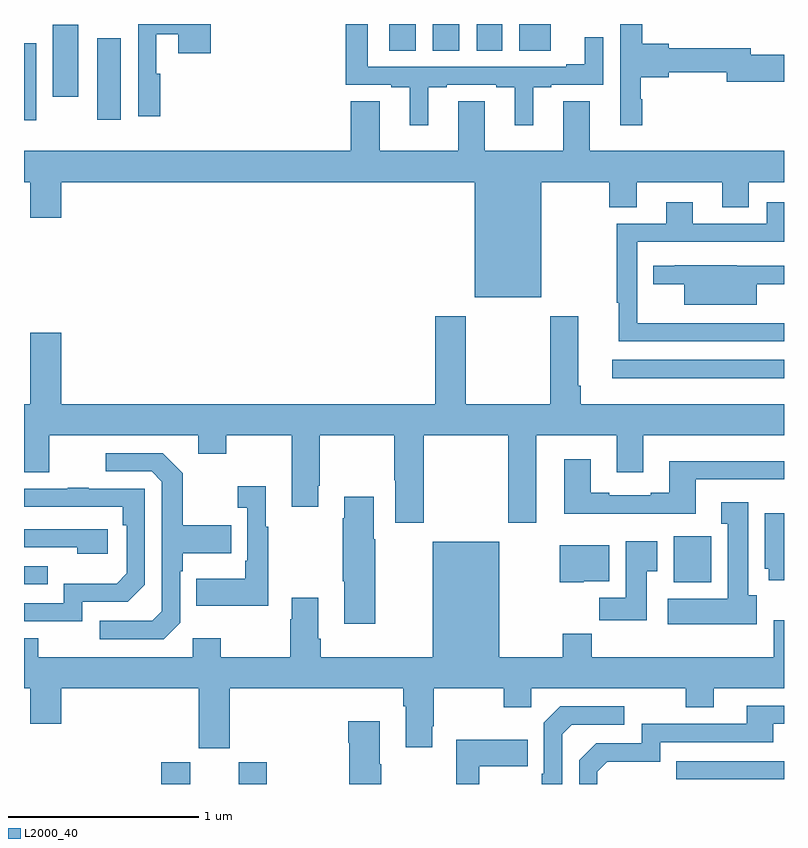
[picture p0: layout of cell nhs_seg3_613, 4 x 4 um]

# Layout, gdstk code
import gdstk
lib = gdstk.Library(unit=1e-6, precision=1e-09)
def R(c, l, rs):  # rectangles x0, y0, x1, y1
    for r in rs: c.add(gdstk.rectangle(r[:2], r[2:], *l))
def P(c, l, *ps):  # polygons
    for p in ps: c.add(gdstk.Polygon(p, *l))
L2000_40 = (2000, 40)

nhs_seg3_613 = lib.new_cell('nhs_seg3_613')
R(nhs_seg3_613, L2000_40, [(141.722,712.4,141.874,712.515), (142.13,712.4,142.278,712.515), (144.433,712.425,145,712.521), (141,713.451,141.125,713.547), (144.419,713.462,144.616,713.704), (144.096,714.536,145,714.633), (141,715.893,141.064,716.299), (141.386,715.896,141.508,716.326), (141.152,716.016,141.286,716.396), (142.922,716.26,143.062,716.4), (143.15,716.26,143.29,716.4), (143.384,716.26,143.518,716.4), (143.606,716.26,143.773,716.4)])
P(nhs_seg3_613, L2000_40, [(144.254,716.004),(144.247,716.004),(144.247,716.119),(144.394,716.119),(144.394,716.145),(144.698,716.145),(144.698,716.095),(145,716.095),(145,716.237),(144.826,716.237),(144.826,716.273),(144.394,716.273),(144.394,716.297),(144.254,716.297),(144.254,716.4),(144.137,716.4),(144.137,716.38),(144.138,716.38),(144.138,715.866),(144.254,715.866)],
  [(143.128,716.067),(143.224,716.067),(143.224,716.079),(143.486,716.079),(143.486,716.067),(143.582,716.067),(143.582,715.866),(143.68,715.866),(143.68,716.067),(143.776,716.067),(143.776,716.079),(144.048,716.079),(144.048,716.329),(143.951,716.329),(143.951,716.188),(143.855,716.188),(143.855,716.175),(142.809,716.175),(142.809,716.4),(142.693,716.4),(142.693,716.079),(142.934,716.079),(142.934,716.067),(143.03,716.067),(143.03,715.866),(143.128,715.866)],
  [(141.716,716.138),(141.696,716.138),(141.696,716.345),(141.812,716.345),(141.812,716.247),(141.983,716.247),(141.983,716.4),(141.6,716.4),(141.6,715.914),(141.716,715.914)],
  [(143.722,715.568),(144.079,715.568),(144.079,715.435),(144.226,715.435),(144.226,715.568),(144.674,715.568),(144.674,715.435),(144.814,715.435),(144.814,715.568),(145,715.568),(145,715.732),(143.977,715.732),(143.977,715.994),(143.837,715.994),(143.837,715.732),(143.425,715.732),(143.425,715.994),(143.285,715.994),(143.285,715.732),(142.873,715.732),(142.873,715.994),(142.721,715.994),(142.721,715.732),(141,715.732),(141,715.568),(141.032,715.568),(141.032,715.38),(141.196,715.38),(141.196,715.568),(143.372,715.568),(143.372,714.962),(143.722,714.962)],
  [(145,714.825),(144.228,714.825),(144.228,715.254),(145,715.254),(145,715.462),(144.908,715.462),(144.908,715.35),(144.52,715.35),(144.52,715.462),(144.38,715.462),(144.38,715.35),(144.12,715.35),(144.12,714.932),(144.131,714.932),(144.131,714.729),(145,714.729)],
  [(144.856,715.031),(145,715.031),(145,715.128),(144.752,715.128),(144.752,715.129),(144.424,715.129),(144.424,715.127),(144.313,715.127),(144.313,715.031),(144.476,715.031),(144.476,714.923),(144.856,714.923)],
  [(143.103,714.236),(143.548,714.236),(143.548,713.775),(143.695,713.775),(143.695,714.236),(144.119,714.236),(144.119,714.042),(144.259,714.042),(144.259,714.236),(145,714.236),(145,714.4),(143.93,714.4),(143.93,714.496),(143.917,714.496),(143.917,714.862),(143.77,714.862),(143.77,714.4),(143.325,714.4),(143.325,714.862),(143.165,714.862),(143.165,714.4),(141.196,714.4),(141.196,714.775),(141.032,714.775),(141.032,714.4),(141,714.4),(141,714.042),(141.133,714.042),(141.133,714.236),(141.917,714.236),(141.917,714.137),(142.065,714.137),(142.065,714.236),(142.409,714.236),(142.409,713.859),(142.549,713.859),(142.549,713.971),(142.557,713.971),(142.557,714.236),(142.948,714.236),(142.948,713.998),(142.955,713.998),(142.955,713.775),(143.103,713.775)],
  [(141.822,713.25),(141.822,713.519),(141.835,713.519),(141.835,713.615),(142.091,713.615),(142.091,713.763),(141.835,713.763),(141.835,714.035),(141.729,714.141),(141.429,714.141),(141.429,714.045),(141.672,714.045),(141.726,713.991),(141.726,713.31),(141.675,713.259),(141.399,713.259),(141.399,713.163),(141.735,713.163)],
  [(144.535,714.003),(145,714.003),(145,714.1),(144.395,714.1),(144.395,713.932),(144.299,713.932),(144.299,713.919),(144.079,713.919),(144.079,713.932),(143.983,713.932),(143.983,714.109),(143.843,714.109),(143.843,713.822),(144.535,713.822)],
  [(142.285,713.755),(142.273,713.755),(142.273,713.968),(142.125,713.968),(142.125,713.855),(142.176,713.855),(142.176,713.575),(142.164,713.575),(142.164,713.479),(141.907,713.479),(141.907,713.339),(142.285,713.339)],
  [(141.306,713.358),(141.546,713.358),(141.636,713.448),(141.636,713.955),(141.341,713.955),(141.341,713.96),(141.229,713.96),(141.229,713.955),(141,713.955),(141,713.859),(141.52,713.859),(141.52,713.762),(141.54,713.762),(141.54,713.508),(141.487,713.455),(141.21,713.455),(141.21,713.352),(141,713.352),(141,713.256),(141.306,713.256)],
  [(142.848,713.687),(142.84,713.687),(142.84,713.911),(142.685,713.911),(142.685,713.798),(142.678,713.798),(142.678,713.467),(142.685,713.467),(142.685,713.244),(142.848,713.244)],
  [(144.856,713.394),(144.811,713.394),(144.811,713.884),(144.671,713.884),(144.671,713.771),(144.704,713.771),(144.704,713.374),(144.387,713.374),(144.387,713.24),(144.856,713.24)],
  [(145,713.824),(144.899,713.824),(144.899,713.532),(144.92,713.532),(144.92,713.472),(145,713.472)],
  [(141.442,713.742),(141,713.742),(141,713.646),(141.281,713.646),(141.281,713.612),(141.442,713.612)],
  [(144.277,713.521),(144.334,713.521),(144.334,713.677),(144.167,713.677),(144.167,713.38),(144.028,713.38),(144.028,713.262),(144.277,713.262)],
  [(142.084,712.904),(142.997,712.904),(142.997,712.808),(143.009,712.808),(143.009,712.593),(143.149,712.593),(143.149,712.705),(143.157,712.705),(143.157,712.904),(143.524,712.904),(143.524,712.805),(143.67,712.805),(143.67,712.904),(144.484,712.904),(144.484,712.805),(144.631,712.805),(144.631,712.904),(145,712.904),(145,713.263),(144.947,713.263),(144.947,713.068),(143.987,713.068),(143.987,713.192),(143.836,713.192),(143.836,713.068),(143.5,713.068),(143.5,713.674),(143.15,713.674),(143.15,713.068),(142.562,713.068),(142.562,713.164),(142.549,713.164),(142.549,713.38),(142.409,713.38),(142.409,713.267),(142.402,713.267),(142.402,713.068),(142.035,713.068),(142.035,713.167),(141.888,713.167),(141.888,713.068),(141.075,713.068),(141.075,713.167),(141,713.167),(141,712.904),(141.032,712.904),(141.032,712.716),(141.196,712.716),(141.196,712.904),(141.92,712.904),(141.92,712.587),(142.084,712.587)],
  [(143.946,713.468),(144.079,713.468),(144.079,713.656),(143.821,713.656),(143.821,713.462),(143.946,713.462)],
  [(144.018,712.464),(144.071,712.517),(144.348,712.517),(144.348,712.62),(144.943,712.62),(144.943,712.716),(145,712.716),(145,712.812),(144.803,712.812),(144.803,712.716),(144.252,712.716),(144.252,712.614),(144.012,712.614),(143.922,712.524),(143.922,712.4),(144.018,712.4)],
  [(143.832,712.662),(143.883,712.713),(144.16,712.713),(144.16,712.809),(143.823,712.809),(143.736,712.722),(143.736,712.453),(143.724,712.453),(143.724,712.4),(143.832,712.4)],
  [(142.881,712.505),(142.873,712.505),(142.873,712.729),(142.706,712.729),(142.706,712.616),(142.711,712.616),(142.711,712.4),(142.881,712.4)],
  [(143.395,712.493),(143.651,712.493),(143.651,712.633),(143.274,712.633),(143.274,712.4),(143.395,712.4)])

lib.write_gds('nhs_seg3_613.gds')
